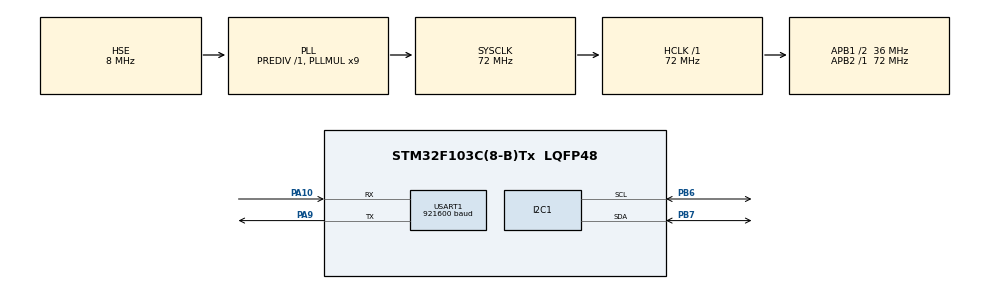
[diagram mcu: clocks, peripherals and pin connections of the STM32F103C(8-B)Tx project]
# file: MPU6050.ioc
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I2C1.I2C_Mode=I2C_Fast
Mcu.Family=STM32F1
Mcu.Name=STM32F103C(8-B)Tx
Mcu.Package=LQFP48
NVIC.PriorityGroup=NVIC_PRIORITYGROUP_4
NVIC.TIM2_IRQn=true\:0\:0\:false\:false\:true\:true\:true\:true
NVIC.USART1_IRQn=true\:0\:0\:false\:false\:true\:true\:true\:true
PA10.Mode=Asynchronous
PA10.Signal=USART1_RX
PA13.Mode=Serial_Wire
PA13.Signal=SYS_JTMS-SWDIO
PA14.Mode=Serial_Wire
PA14.Signal=SYS_JTCK-SWCLK
PA9.Mode=Asynchronous
PA9.Signal=USART1_TX
PB6.Mode=I2C
PB6.Signal=I2C1_SCL
PB7.Mode=I2C
PB7.Signal=I2C1_SDA
PD0-OSC_IN.Mode=HSE-External-Oscillator
PD0-OSC_IN.Signal=RCC_OSC_IN
PD1-OSC_OUT.Mode=HSE-External-Oscillator
PD1-OSC_OUT.Signal=RCC_OSC_OUT
ProjectManager.HeapSize=0x200
ProjectManager.StackSize=0x400
ProjectManager.TargetToolchain=MDK-ARM V5.32
RCC.AHBFreq_Value=72000000
RCC.APB1CLKDivider=RCC_HCLK_DIV2
RCC.APB1Freq_Value=36000000
RCC.APB1TimFreq_Value=72000000
RCC.APB2Freq_Value=72000000
RCC.APB2TimFreq_Value=72000000
RCC.HCLKFreq_Value=72000000
RCC.PLLMUL=RCC_PLL_MUL9
RCC.PLLSourceVirtual=RCC_PLLSOURCE_HSE
RCC.SYSCLKFreq_VALUE=72000000
RCC.SYSCLKSource=RCC_SYSCLKSOURCE_PLLCLK
RCC.USBFreq_Value=72000000
TIM2.Period=999
TIM2.Prescaler=71
USART1.BaudRate=921600
USART1.VirtualMode=VM_ASYNC
VP_TIM2_VS_ClockSourceINT.Mode=Internal
board=custom

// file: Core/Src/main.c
/* USER CODE BEGIN Header */
/**
  ******************************************************************************
  * @file           : main.c
  * @brief          : Main program body
  ******************************************************************************
  * @attention
  *
  * Copyright (c) 2026 STMicroelectronics.
  * All rights reserved.
  *

  * This software is licensed under terms that can be found in the LICENSE file
  * in the root directory of this software component.
  * If no LICENSE file comes with this software, it is provided AS-IS.
  *
  ******************************************************************************
  */
/* USER CODE END Header */
#include "main.h"

/* USER CODE BEGIN Includes */
#include "mpu6050.h"
#include "mahony.h"
#include "protocol.h"
#include <string.h>
/* USER CODE END Includes */

/* USER CODE BEGIN PD */
#define ATTITUDE_HISTORY_SIZE              16

#define PROTOCOL_TEST_CORRUPT_SEQUENCE     3000
/* USER CODE END PD */

I2C_HandleTypeDef hi2c1;

TIM_HandleTypeDef htim2;

UART_HandleTypeDef huart1;

/* USER CODE BEGIN PV */
MPU6050_RawData_t imu_raw;
MPU6050_Data_t imu_data;
MPU6050_GyroBias_t gyro_bias;

Mahony_t mahony;

volatile HAL_StatusTypeDef imu_calib_status = HAL_ERROR;
volatile HAL_StatusTypeDef imu_init_status = HAL_ERROR;
volatile HAL_StatusTypeDef imu_read_status = HAL_ERROR;

volatile uint8_t imu_sample_flag = 0;

/* TIM2真正产生了多少次1ms事件 */
volatile uint32_t imu_timer_tick_count = 0;

/* MPU6050成功读取了多少次 */
volatile uint32_t imu_sample_count = 0;

/* main来不及处理时统计丢失的采样节拍 */
volatile uint32_t imu_overrun_count = 0;

volatile uint32_t imu_sample_rate = 0;

uint32_t rate_last_tick = 0;
uint32_t rate_last_sample_count = 0;

Protocol_Attitude_t attitude_tx_data;

uint8_t attitude_tx_frame[
    PROTOCOL_ATTITUDE_FRAME_LEN
];

volatile uint16_t attitude_tx_sequence = 0;

volatile uint32_t attitude_tx_count = 0;
volatile uint32_t attitude_tx_error_count = 0;

volatile HAL_StatusTypeDef
    attitude_tx_status = HAL_ERROR;

/* Attitude frame history for retransmission */
uint8_t attitude_history
    [ATTITUDE_HISTORY_SIZE]
    [PROTOCOL_ATTITUDE_FRAME_LEN];

uint16_t attitude_history_sequence[
    ATTITUDE_HISTORY_SIZE
];

uint8_t attitude_history_valid[
    ATTITUDE_HISTORY_SIZE
];

uint8_t attitude_history_write_index = 0;

/* Retransmit request RX */
uint8_t retransmit_sync_byte = 0;

uint8_t retransmit_rx_frame[
    PROTOCOL_SET_GAINS_FRAME_LEN
];

volatile uint8_t retransmit_rx_state = 0;
volatile uint8_t retransmit_request_pending = 0;

volatile uint8_t retransmit_rx_frame_length = 0;

volatile HAL_StatusTypeDef
    retransmit_rx_start_status = HAL_ERROR;

volatile Protocol_Status_t
    retransmit_request_status = PROTOCOL_OK;

volatile uint16_t
    retransmit_requested_sequence = 0;

volatile Protocol_Status_t
    set_gains_status = PROTOCOL_OK;

uint16_t set_gains_sequence = 0;

float set_gains_kp = 0.0f;
float set_gains_ki = 0.0f;

volatile uint32_t set_gains_count = 0;
volatile uint32_t set_gains_error_count = 0;

uint8_t gains_ack_frame[
    PROTOCOL_GAINS_ACK_FRAME_LEN
];

volatile uint8_t
    gains_ack_pending = 0;

volatile HAL_StatusTypeDef
    gains_ack_tx_status = HAL_ERROR;

volatile uint32_t
    gains_ack_tx_count = 0;

volatile uint32_t
    gains_ack_tx_error_count = 0;

/* Retransmit TX */
uint8_t retransmit_tx_frame[
    PROTOCOL_ATTITUDE_FRAME_LEN
];

volatile uint8_t retransmit_tx_pending = 0;
volatile uint8_t retransmit_tx_in_progress = 0;

volatile HAL_StatusTypeDef
    retransmit_tx_status = HAL_ERROR;

volatile uint32_t retransmit_request_count = 0;
volatile uint32_t retransmit_tx_count = 0;
volatile uint32_t retransmit_tx_error_count = 0;
volatile uint32_t retransmit_not_found_count = 0;

/*
 * Test switch:
 *
 * 1 = intentionally corrupt one frame
 *     to verify CRC retransmission
 *
 * After verification change this to 0.
 */
volatile uint8_t protocol_test_enable = 0;
volatile uint8_t protocol_test_done = 0;
/* USER CODE END PV */

void SystemClock_Config(void);
static void MX_GPIO_Init(void);
static void MX_I2C1_Init(void);
static void MX_TIM2_Init(void);
static void MX_USART1_UART_Init(void);

/* USER CODE BEGIN 0 */
static uint8_t Slave_FindHistoryFrame(
    uint16_t sequence,
    uint8_t *frame
)
{
    uint8_t i;

    for (i = 0;
         i < ATTITUDE_HISTORY_SIZE;
         i++)
    {
        if ((attitude_history_valid[i] != 0) &&
            (attitude_history_sequence[i] ==
             sequence))
        {
            memcpy(
                frame,
                attitude_history[i],
                PROTOCOL_ATTITUDE_FRAME_LEN
            );

            return 1;
        }
    }

    return 0;
}
/* USER CODE END 0 */

int main(void)
{

  /* MCU Configuration--------------------------------------------------------*/

  /* Reset of all peripherals, Initializes the Flash interface and the Systick. */
  HAL_Init();

  /* Configure the system clock */
  SystemClock_Config();

  /* Initialize all configured peripherals */
  MX_GPIO_Init();
  MX_I2C1_Init();
  MX_TIM2_Init();
  MX_USART1_UART_Init();
  /* USER CODE BEGIN 2 */
imu_init_status = MPU6050_Init();

if (imu_init_status == HAL_OK)
{
    imu_calib_status =
        MPU6050_CalibrateGyro(
            &gyro_bias,
            1000
        );
}

if ((imu_init_status == HAL_OK) &&
    (imu_calib_status == HAL_OK))
{
	  Mahony_Init(
        &mahony,
        2.0f,
        0.02f
    );

    HAL_TIM_Base_Start_IT(&htim2);

	  /* 记录采样率统计的起始时间 */
    rate_last_tick = HAL_GetTick();

    /* 记录当前采样总数 */
    rate_last_sample_count = imu_sample_count;
}

retransmit_rx_state = 0;

retransmit_rx_start_status =
    HAL_UART_Receive_IT(
        &huart1,
        &retransmit_sync_byte,
        1
    );
  /* USER CODE END 2 */

  /* Infinite loop */
  while (1)
  {

    /* USER CODE BEGIN 3 */

     if (imu_sample_flag)
    {
        /* 先清flag */
        imu_sample_flag = 0;

        /* 读取MPU6050 */
        imu_read_status = MPU6050_ReadRaw(&imu_raw);

        if (imu_read_status == HAL_OK)
        {
            /* RAW -> g / deg/s */
            MPU6050_ConvertRaw(
                &imu_raw,
                &imu_data
            );

            /* 陀螺仪零偏校正 */
            MPU6050_ApplyGyroBias(
                &imu_data,
                &gyro_bias
            );

					  Mahony_UpdateIMU(
               &mahony,

               imu_data.gx,
               imu_data.gy,
               imu_data.gz,

               imu_data.ax,
               imu_data.ay,
               imu_data.az,

               0.001f
            );
            /* 一次完整采样成功 */
            imu_sample_count++;

						/* Copy current attitude */
attitude_tx_data.q0 =
    mahony.q0;

attitude_tx_data.q1 =
    mahony.q1;

attitude_tx_data.q2 =
    mahony.q2;

attitude_tx_data.q3 =
    mahony.q3;

attitude_tx_data.roll =
    mahony.roll;

attitude_tx_data.pitch =
    mahony.pitch;

attitude_tx_data.yaw =
    mahony.yaw;

/* Build protocol frame */
Protocol_BuildAttitudeFrame(
    attitude_tx_frame,
    attitude_tx_sequence,
    &attitude_tx_data
);

/*
 * Save the correct frame before sending.
 *
 * If master later requests this sequence,
 * the original correct frame can be resent.
 */
memcpy(
    attitude_history[
        attitude_history_write_index
    ],
    attitude_tx_frame,
    PROTOCOL_ATTITUDE_FRAME_LEN
);

attitude_history_sequence[
    attitude_history_write_index
] = attitude_tx_sequence;

attitude_history_valid[
    attitude_history_write_index
] = 1;

attitude_history_write_index++;

if (attitude_history_write_index >=
    ATTITUDE_HISTORY_SIZE)
{
    attitude_history_write_index = 0;
}

/*
 * Test only:
 *
 * Intentionally corrupt one payload byte
 * when sequence reaches 3000.
 *
 * CRC remains unchanged, therefore master
 * must detect PROTOCOL_ERROR_CRC.
 *
 * The history copy above remains correct.
 */
if ((protocol_test_enable != 0) &&
    (protocol_test_done == 0) &&
    (attitude_tx_sequence ==
     PROTOCOL_TEST_CORRUPT_SEQUENCE))
{
    attitude_tx_frame[10] ^= 0x01;

    protocol_test_done = 1;
}

if (gains_ack_pending != 0)
{
    gains_ack_tx_status =
        HAL_UART_Transmit(
            &huart1,
            gains_ack_frame,
            PROTOCOL_GAINS_ACK_FRAME_LEN,
            2
        );

    if (gains_ack_tx_status == HAL_OK)
    {
        gains_ack_pending = 0;

        gains_ack_tx_count++;
    }
    else
    {
        gains_ack_tx_error_count++;
    }
}
else
{
    /* Send normal attitude frame */
    attitude_tx_status =
        HAL_UART_Transmit(
            &huart1,
            attitude_tx_frame,
            PROTOCOL_ATTITUDE_FRAME_LEN,
            2
        );

    if (attitude_tx_status == HAL_OK)
    {
        attitude_tx_count++;

        attitude_tx_sequence++;
    }
    else
    {
        attitude_tx_error_count++;
    }
}
        }

    }

/*
 * Process retransmit request
 */
if (retransmit_request_pending)
{
    if (retransmit_rx_frame[2] ==
        PROTOCOL_CMD_RETRANSMIT)
    {
        retransmit_request_status =
            Protocol_ParseRetransmitRequest(
                retransmit_rx_frame,
                PROTOCOL_RETRANSMIT_REQUEST_LEN,
                (uint16_t *)
                &retransmit_requested_sequence
            );

        if (retransmit_request_status ==
            PROTOCOL_OK)
        {
            retransmit_request_count++;

            if (Slave_FindHistoryFrame(
                    retransmit_requested_sequence,
                    retransmit_tx_frame))
            {
                retransmit_tx_pending = 1;
            }
            else
            {
                retransmit_not_found_count++;
            }
        }
    }
    else if (retransmit_rx_frame[2] ==
             PROTOCOL_CMD_SET_GAINS)
    {
        set_gains_status =
            Protocol_ParseSetGainsFrame(
                retransmit_rx_frame,
                retransmit_rx_frame_length,
                &set_gains_sequence,
                &set_gains_kp,
                &set_gains_ki
            );

        if (set_gains_status ==
            PROTOCOL_OK)
        {
            Mahony_SetGains(
                &mahony,
                set_gains_kp,
                set_gains_ki
            );

            Protocol_BuildGainsAckFrame(
                gains_ack_frame,
                set_gains_sequence,
                mahony.kp,
                mahony.ki,
                PROTOCOL_GAINS_ACK_OK
            );

            gains_ack_pending = 1;

            set_gains_count++;
        }
        else
        {
            set_gains_error_count++;
        }
    }
    else
    {
        set_gains_error_count++;
    }

    retransmit_request_pending = 0;

    retransmit_rx_state = 0;

    retransmit_rx_frame_length = 0;

    /*
     * Wait for next retransmit request.
     */
    HAL_UART_Receive_IT(
        &huart1,
        &retransmit_sync_byte,
        1
    );
}

/*
 * Send retransmitted frame asynchronously.
 *
 * Using interrupt TX here avoids blocking
 * the 1 kHz IMU task for another 36 bytes.
 */
if ((retransmit_tx_pending != 0) &&
    (retransmit_tx_in_progress == 0))
{
    retransmit_tx_pending = 0;

    retransmit_tx_status =
        HAL_UART_Transmit_IT(
            &huart1,
            retransmit_tx_frame,
            PROTOCOL_ATTITUDE_FRAME_LEN
        );

    if (retransmit_tx_status == HAL_OK)
    {
        retransmit_tx_in_progress = 1;
    }
    else
    {
        retransmit_tx_error_count++;
    }
}
		/* ==================== 每1秒统计一次采样率 ==================== */
    if ((HAL_GetTick() - rate_last_tick) >= 1000)
    {
        imu_sample_rate =
            imu_sample_count -
            rate_last_sample_count;

        rate_last_sample_count =
            imu_sample_count;

        rate_last_tick += 1000;
    }
  /* USER CODE END 3 */
}

}
void SystemClock_Config(void)
{
  RCC_OscInitTypeDef RCC_OscInitStruct = {0};
  RCC_ClkInitTypeDef RCC_ClkInitStruct = {0};

  /** Initializes the RCC Oscillators according to the specified parameters
  * in the RCC_OscInitTypeDef structure.
  */
  RCC_OscInitStruct.OscillatorType = RCC_OSCILLATORTYPE_HSE;
  RCC_OscInitStruct.HSEState = RCC_HSE_ON;
  RCC_OscInitStruct.HSEPredivValue = RCC_HSE_PREDIV_DIV1;
  RCC_OscInitStruct.HSIState = RCC_HSI_ON;
  RCC_OscInitStruct.PLL.PLLState = RCC_PLL_ON;
  RCC_OscInitStruct.PLL.PLLSource = RCC_PLLSOURCE_HSE;
  RCC_OscInitStruct.PLL.PLLMUL = RCC_PLL_MUL9;
  if (HAL_RCC_OscConfig(&RCC_OscInitStruct) != HAL_OK)
  {
    Error_Handler();
  }

  /** Initializes the CPU, AHB and APB buses clocks
  */
  RCC_ClkInitStruct.ClockType = RCC_CLOCKTYPE_HCLK|RCC_CLOCKTYPE_SYSCLK
                              |RCC_CLOCKTYPE_PCLK1|RCC_CLOCKTYPE_PCLK2;
  RCC_ClkInitStruct.SYSCLKSource = RCC_SYSCLKSOURCE_PLLCLK;
  RCC_ClkInitStruct.AHBCLKDivider = RCC_SYSCLK_DIV1;
  RCC_ClkInitStruct.APB1CLKDivider = RCC_HCLK_DIV2;
  RCC_ClkInitStruct.APB2CLKDivider = RCC_HCLK_DIV1;

  if (HAL_RCC_ClockConfig(&RCC_ClkInitStruct, FLASH_LATENCY_2) != HAL_OK)
  {
    Error_Handler();
  }
}

static void MX_I2C1_Init(void)
{

  hi2c1.Instance = I2C1;
  hi2c1.Init.ClockSpeed = 400000;
  hi2c1.Init.DutyCycle = I2C_DUTYCYCLE_2;
  hi2c1.Init.OwnAddress1 = 0;
  hi2c1.Init.AddressingMode = I2C_ADDRESSINGMODE_7BIT;
  hi2c1.Init.DualAddressMode = I2C_DUALADDRESS_DISABLE;
  hi2c1.Init.OwnAddress2 = 0;
  hi2c1.Init.GeneralCallMode = I2C_GENERALCALL_DISABLE;
  hi2c1.Init.NoStretchMode = I2C_NOSTRETCH_DISABLE;
  if (HAL_I2C_Init(&hi2c1) != HAL_OK)
  {
    Error_Handler();
  }

}

static void MX_TIM2_Init(void)
{

  TIM_ClockConfigTypeDef sClockSourceConfig = {0};
  TIM_MasterConfigTypeDef sMasterConfig = {0};

  htim2.Instance = TIM2;
  htim2.Init.Prescaler = 71;
  htim2.Init.CounterMode = TIM_COUNTERMODE_UP;
  htim2.Init.Period = 999;
  htim2.Init.ClockDivision = TIM_CLOCKDIVISION_DIV1;
  htim2.Init.AutoReloadPreload = TIM_AUTORELOAD_PRELOAD_DISABLE;
  if (HAL_TIM_Base_Init(&htim2) != HAL_OK)
  {
    Error_Handler();
  }
  sClockSourceConfig.ClockSource = TIM_CLOCKSOURCE_INTERNAL;
  if (HAL_TIM_ConfigClockSource(&htim2, &sClockSourceConfig) != HAL_OK)
  {
    Error_Handler();
  }
  sMasterConfig.MasterOutputTrigger = TIM_TRGO_RESET;
  sMasterConfig.MasterSlaveMode = TIM_MASTERSLAVEMODE_DISABLE;
  if (HAL_TIMEx_MasterConfigSynchronization(&htim2, &sMasterConfig) != HAL_OK)
  {
    Error_Handler();
  }

}

static void MX_USART1_UART_Init(void)
{

  huart1.Instance = USART1;
  huart1.Init.BaudRate = 921600;
  huart1.Init.WordLength = UART_WORDLENGTH_8B;
  huart1.Init.StopBits = UART_STOPBITS_1;
  huart1.Init.Parity = UART_PARITY_NONE;
  huart1.Init.Mode = UART_MODE_TX_RX;
  huart1.Init.HwFlowCtl = UART_HWCONTROL_NONE;
  huart1.Init.OverSampling = UART_OVERSAMPLING_16;
  if (HAL_UART_Init(&huart1) != HAL_OK)
  {
    Error_Handler();
  }

}

static void MX_GPIO_Init(void)
{

  /* GPIO Ports Clock Enable */
  __HAL_RCC_GPIOD_CLK_ENABLE();
  __HAL_RCC_GPIOA_CLK_ENABLE();
  __HAL_RCC_GPIOB_CLK_ENABLE();

}

/* USER CODE BEGIN 4 */

void HAL_TIM_PeriodElapsedCallback(TIM_HandleTypeDef *htim)
{
    if (htim->Instance == TIM2)
    {
        imu_timer_tick_count++;

        if (imu_sample_flag == 0)
        {
            imu_sample_flag = 1;
        }
        else
        {
            /*
             * 上一次1ms任务还没处理，
             * 下一次中断已经来了。
             */
            imu_overrun_count++;
        }
    }
}

void HAL_UART_RxCpltCallback(
    UART_HandleTypeDef *huart
)
{
    if (huart->Instance == USART1)
    {
        /*
         * State 0:
         * wait for 0xAA
         */
        if (retransmit_rx_state == 0)
        {
            if (retransmit_sync_byte ==
                PROTOCOL_HEADER_1)
            {
                retransmit_rx_frame[0] =
                    retransmit_sync_byte;

                retransmit_rx_state = 1;
            }

            HAL_UART_Receive_IT(
                &huart1,
                &retransmit_sync_byte,
                1
            );
        }

        /*
         * State 1:
         * wait for 0x55
         */
        else if (retransmit_rx_state == 1)
        {
            if (retransmit_sync_byte ==
                PROTOCOL_HEADER_2)
            {
                retransmit_rx_frame[1] =
                    retransmit_sync_byte;

                retransmit_rx_state = 2;

                /*
                 * Receive CMD and LEN.
                 */
                HAL_UART_Receive_IT(
                    &huart1,
                    &retransmit_rx_frame[2],
                    2
                );
            }
            else
            {
                if (retransmit_sync_byte ==
                    PROTOCOL_HEADER_1)
                {
                    retransmit_rx_frame[0] =
                        retransmit_sync_byte;

                    retransmit_rx_state = 1;
                }
                else
                {
                    retransmit_rx_state = 0;
                }

                HAL_UART_Receive_IT(
                    &huart1,
                    &retransmit_sync_byte,
                    1
                );
            }
        }

        /*
         * State 2:
         * CMD and LEN received
         */
        else if (retransmit_rx_state == 2)
        {
            if ((retransmit_rx_frame[2] ==
                 PROTOCOL_CMD_RETRANSMIT) &&
                (retransmit_rx_frame[3] == 0))
            {
                retransmit_rx_frame_length =
                    PROTOCOL_RETRANSMIT_REQUEST_LEN;

                retransmit_rx_state = 3;

                HAL_UART_Receive_IT(
                    &huart1,
                    &retransmit_rx_frame[4],
                    PROTOCOL_RETRANSMIT_REQUEST_LEN - 4
                );
            }
            else if (
                (retransmit_rx_frame[2] ==
                 PROTOCOL_CMD_SET_GAINS) &&
                (retransmit_rx_frame[3] ==
                 PROTOCOL_GAINS_PAYLOAD_LEN))
            {
                retransmit_rx_frame_length =
                    PROTOCOL_SET_GAINS_FRAME_LEN;

                retransmit_rx_state = 3;

                HAL_UART_Receive_IT(
                    &huart1,
                    &retransmit_rx_frame[4],
                    PROTOCOL_SET_GAINS_FRAME_LEN - 4
                );
            }
            else
            {
                retransmit_rx_frame_length = 0;

                retransmit_rx_state = 0;

                HAL_UART_Receive_IT(
                    &huart1,
                    &retransmit_sync_byte,
                    1
                );
            }
        }

        /*
         * State 3:
         * complete command received
         */
        else if (retransmit_rx_state == 3)
        {
            retransmit_request_pending = 1;

            retransmit_rx_state = 4;
        }
    }
}

void HAL_UART_TxCpltCallback(
    UART_HandleTypeDef *huart
)
{
    if (huart->Instance == USART1)
    {
        if (retransmit_tx_in_progress != 0)
        {
            retransmit_tx_in_progress = 0;

            retransmit_tx_count++;
        }
    }
}
/* USER CODE END 4 */

void Error_Handler(void)
{
  __disable_irq();
  while (1)
  {
  }
}
